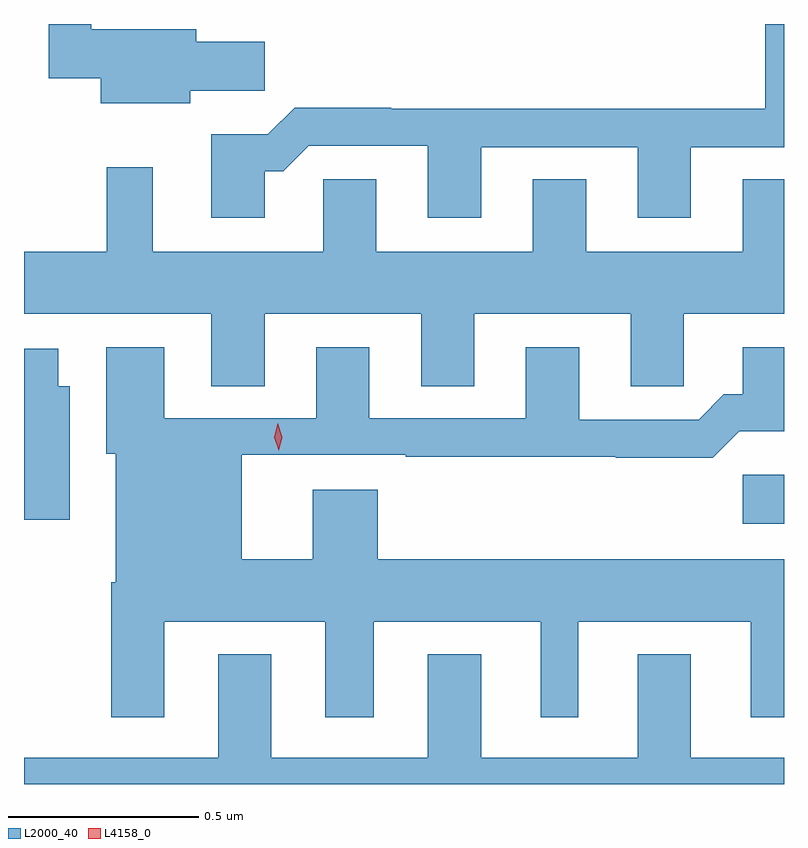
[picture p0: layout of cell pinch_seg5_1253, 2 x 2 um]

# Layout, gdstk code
import gdstk
lib = gdstk.Library(unit=1e-6, precision=1e-09)
def R(c, l, rs):  # rectangles x0, y0, x1, y1
    for r in rs: c.add(gdstk.rectangle(r[:2], r[2:], *l))
def P(c, l, *ps):  # polygons
    for p in ps: c.add(gdstk.Polygon(p, *l))
L2000_40 = (2000, 40)
L4158_0 = (4158, 0)

pinch_seg5_1253 = lib.new_cell('pinch_seg5_1253')
R(pinch_seg5_1253, L2000_40, [(463.644,882.848,463.752,882.977)])
P(pinch_seg5_1253, L2000_40, [(462.385,883.775),(462.434,883.775),(462.501,883.842),(462.815,883.842),(462.815,883.653),(462.955,883.653),(462.955,883.839),(463.367,883.839),(463.367,883.653),(463.507,883.653),(463.507,883.839),(463.752,883.839),(463.752,884.163),(463.703,884.163),(463.703,883.94),(462.719,883.94),(462.719,883.943),(462.464,883.943),(462.394,883.873),(462.245,883.873),(462.245,883.653),(462.385,883.653)],
  [(462.19,883.987),(462.385,883.987),(462.385,884.116),(462.205,884.116),(462.205,884.149),(461.929,884.149),(461.929,884.162),(461.817,884.162),(461.817,884.02),(461.954,884.02),(461.954,883.955),(462.19,883.955)],
  [(462.385,883.4),(462.797,883.4),(462.797,883.21),(462.937,883.21),(462.937,883.4),(463.349,883.4),(463.349,883.21),(463.488,883.21),(463.488,883.4),(463.752,883.4),(463.752,883.754),(463.643,883.754),(463.643,883.564),(463.231,883.564),(463.231,883.754),(463.091,883.754),(463.091,883.564),(462.679,883.564),(462.679,883.754),(462.54,883.754),(462.54,883.564),(462.091,883.564),(462.091,883.786),(461.97,883.786),(461.97,883.564),(461.752,883.564),(461.752,883.4),(462.245,883.4),(462.245,883.21),(462.385,883.21)],
  [(462.121,882.59),(462.545,882.59),(462.545,882.339),(462.673,882.339),(462.673,882.59),(463.112,882.59),(463.112,882.339),(463.21,882.339),(463.21,882.59),(463.664,882.59),(463.664,882.339),(463.752,882.339),(463.752,882.754),(462.683,882.754),(462.683,882.937),(462.512,882.937),(462.512,882.754),(462.325,882.754),(462.325,883.029),(462.757,883.029),(462.757,883.024),(463.309,883.024),(463.309,883.022),(463.565,883.022),(463.634,883.091),(463.752,883.091),(463.752,883.312),(463.643,883.312),(463.643,883.189),(463.594,883.189),(463.527,883.122),(463.213,883.122),(463.213,883.312),(463.073,883.312),(463.073,883.125),(462.661,883.125),(462.661,883.312),(462.521,883.312),(462.521,883.125),(462.121,883.125),(462.121,883.312),(461.969,883.312),(461.969,883.032),(461.993,883.032),(461.993,882.694),(461.981,882.694),(461.981,882.339),(462.121,882.339)],
  [(461.872,883.21),(461.842,883.21),(461.842,883.308),(461.752,883.308),(461.752,882.858),(461.872,882.858)],
  [(463.752,882.232),(463.507,882.232),(463.507,882.505),(463.367,882.505),(463.367,882.232),(462.955,882.232),(462.955,882.505),(462.815,882.505),(462.815,882.232),(462.403,882.232),(462.403,882.505),(462.263,882.505),(462.263,882.232),(461.752,882.232),(461.752,882.163),(463.752,882.163)])
P(pinch_seg5_1253, L4158_0, [(462.422,883.04),(462.422,883.041),(462.411,883.076),(462.42,883.112),(462.42,883.112),(462.42,883.112),(462.431,883.076),(462.422,883.041)])

lib.write_gds('pinch_seg5_1253.gds')
